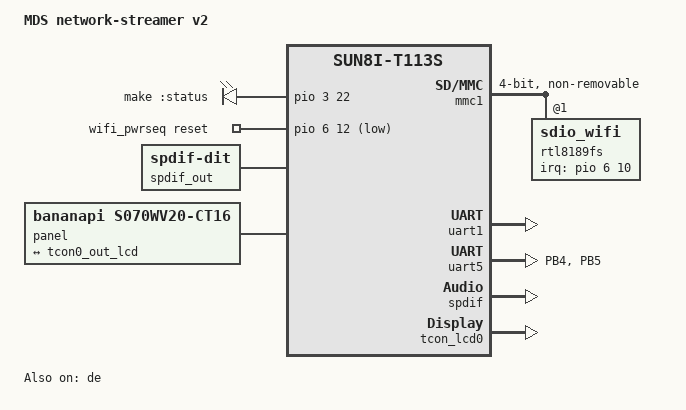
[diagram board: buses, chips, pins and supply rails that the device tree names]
// SPDX-License-Identifier: (GPL-2.0+ OR MIT)
// Copyright (C) 2022 Arm Ltd.

#include <dt-bindings/interrupt-controller/irq.h>

/dts-v1/;

#include "sun8i-t113s.dtsi"
#include "sunxi-d1s-t113-mangopi-mq-r.dtsi"

/ {
	model = "MDS network-streamer v2";
	compatible = "allwinner,sun8i-t113s";

	aliases {
		serial1 = &uart1;
		serial5 = &uart5;
	};

	chosen {
		stdout-path = "serial5:115200n8";
		bootargs = "mem=128M root=/dev/mmcblk0p2 init=/sbin/init rootwait console=tty0 console=ttyS5,115200 lpj=240000";
	};

	leds {
		compatible = "gpio-leds";

		status_led {
			linux,default-trigger = "heartbeat";
			label = "make :status";
			gpios = <&pio 3 22 GPIO_ACTIVE_HIGH>; /* PD22 */
		};
	};

	wifi_pwrseq: wifi-pwrseq {
		compatible = "mmc-pwrseq-simple";
		clocks = <&ccu CLK_FANOUT1>;
		clock-names = "ext_clock";
		reset-gpios = <&pio 6 12 GPIO_ACTIVE_LOW>; /* PG12 */
		assigned-clocks = <&ccu CLK_FANOUT1>;
		assigned-clock-rates = <32768>;
		pinctrl-0 = <&clk_pg11_pin>;
		pinctrl-names = "default";
	};

	spdif_out: spdif-out {
		#sound-dai-cells = <0>;
		compatible = "linux,spdif-dit";
	};

	sound-spdif {
		compatible = "simple-audio-card";
		simple-audio-card,name = "On-board SPDIF";

		simple-audio-card,cpu {
			sound-dai = <&spdif>;
		};

		simple-audio-card,codec {
			sound-dai = <&spdif_out>;
		};
	};

	// backlight: backlight {
	// 	compatible = "pwm-backlight";
	// 	power-supply = <&reg_vcc>;
	// 	pwms = <&pwm 7 50000 0>;
	// };
	panel: panel {
		compatible = "bananapi,s070wv20-ct16";
		// power-supply = <&reg_vcc3v3>;
		// enable-gpios = <&axp_gpio 0 GPIO_ACTIVE_HIGH>; /* AXP GPIO0 */
		// backlight = <&backlight>;

		port {
			panel_input: endpoint {
				remote-endpoint = <&tcon0_out_lcd>;
			};
		};
	};
	// panel@0 {
	// 	compatible = "sitronix,st7701";
	// 	reg = <0>;
	// 	// backlight = <&backlight>;
	// 	//reset-gpios = <&pio 6 13 GPIO_ACTIVE_LOW>; /* PG13 */

	// 	port {
	// 		panel_in_tcon_lcd0: endpoint {
	// 			remote-endpoint = <&tcon_lcd0_out_panel>;
	// 		};
	// 	};
	// };
};

&cpu0 {
	cpu-supply = <&reg_vcc_core>;
};

&cpu1 {
	cpu-supply = <&reg_vcc_core>;
};

&mmc1 {
	bus-width = <4>;
	mmc-pwrseq = <&wifi_pwrseq>;
	non-removable;
	pinctrl-0 = <&mmc1_pins>;
	pinctrl-names = "default";
	status = "okay";

	rtl8189fs: sdio_wifi@1 {
		reg = <1>;
		interrupt-parent = <&pio>;
		interrupts = <6 10 IRQ_TYPE_LEVEL_HIGH>; /* PG10 */
		interrupt-names = "host-wake";
	};
};

&uart1 {
        uart-has-rtscts;
        pinctrl-0 = <&uart1_pg6_pins>, <&uart1_pg8_rts_cts_pins>;
        pinctrl-names = "default";
        status = "okay";

        /* XR829 bluetooth is connected here */
};

&uart5 {
	pinctrl-0 = <&uart5_pb4_pins>;
	pinctrl-names = "default";
	status = "okay";
};


&pio {

	uart5_pb4_pins: uart5-pb4-pins {
	    pins = "PB4", "PB5";
	    function = "uart5";
	};

	clk_pg11_pin: clk-pg11-pin {
			pins = "PG11";
			function = "clk";
	};
};

&spdif {
	pinctrl-names = "default";
	pinctrl-0 = <&spdif_tx_pin>;
	status = "okay";
};

&de {
	status = "okay";
};

// &pwm {
// 	pinctrl-0 = <&pwm7_pd22_pin>;
// 	pinctrl-names = "default";
// 	status = "okay";
// };

&tcon_lcd0 {
	pinctrl-names = "default";
	pinctrl-0 = <&lcd_rgb666_pins>;
	status = "okay";
};

&tcon_lcd0_out {
	tcon0_out_lcd: endpoint@0 {
		reg = <0>;
		remote-endpoint = <&panel_input>;
	};
};

// &tcon_lcd0_out {
// 	tcon_lcd0_out_panel: endpoint {
// 		remote-endpoint = <&panel_in_tcon_lcd0>;
// 	};
// };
